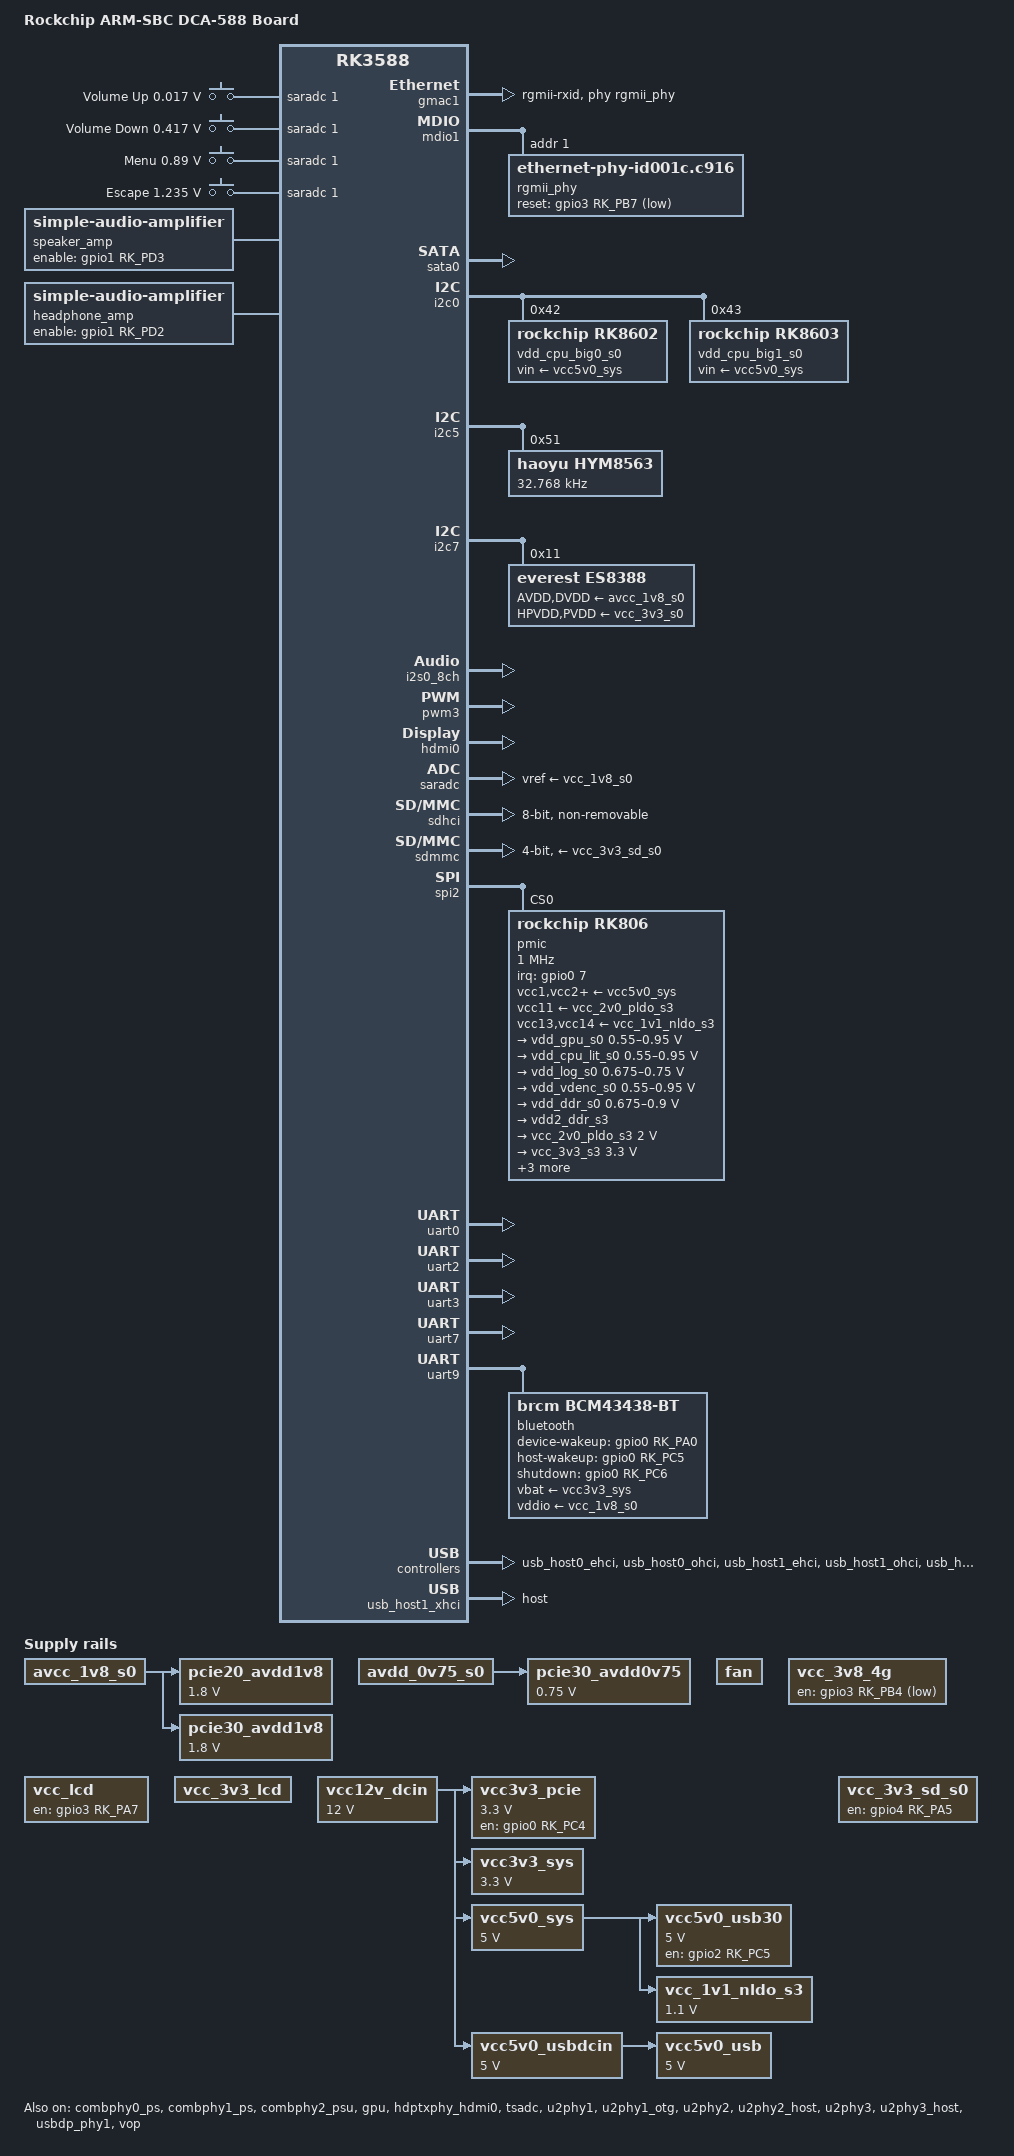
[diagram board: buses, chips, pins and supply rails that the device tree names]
// SPDX-License-Identifier: (GPL-2.0+ OR MIT)
/*
 * Copyright (c) 2024 Rockchip Electronics Co., Ltd.
 *
 */

/dts-v1/;

#include <dt-bindings/gpio/gpio.h>
#include <dt-bindings/input/input.h>
#include <dt-bindings/pinctrl/rockchip.h>
#include <dt-bindings/soc/rockchip,vop2.h>
#include "rk3588.dtsi"

/ {
	model = "Rockchip ARM-SBC DCA-588 Board";
	compatible = "rockchip,rk3588-arm-sbc-v03", "rockchip,rk3588";

	aliases {
		mmc0 = &sdhci;
		mmc1 = &sdmmc;
		ethernet0 = &gmac1;
	};

	chosen {
		stdout-path = "serial2:1500000n8";
	};

	adc-keys {
		compatible = "adc-keys";
		io-channels = <&saradc 1>;
		io-channel-names = "buttons";
		keyup-threshold-microvolt = <1800000>;
		poll-interval = <100>;

		button-vol-up {
			label = "Volume Up";
			linux,code = <KEY_VOLUMEUP>;
			press-threshold-microvolt = <17000>;
		};

		button-vol-down {
			label = "Volume Down";
			linux,code = <KEY_VOLUMEDOWN>;
			press-threshold-microvolt = <417000>;
		};

		button-menu {
			label = "Menu";
			linux,code = <KEY_MENU>;
			press-threshold-microvolt = <890000>;
		};

		button-escape {
			label = "Escape";
			linux,code = <KEY_ESC>;
			press-threshold-microvolt = <1235000>;
		};
	};
	
	speaker_amp: speaker-audio-amplifier {
		compatible = "simple-audio-amplifier";
		enable-gpios = <&gpio1 RK_PD3 GPIO_ACTIVE_HIGH>;
		sound-name-prefix = "Speaker Amp";
	};

	headphone_amp: headphones-audio-amplifier {
		compatible = "simple-audio-amplifier";
		enable-gpios = <&gpio1 RK_PD2 GPIO_ACTIVE_HIGH>;
		sound-name-prefix = "Headphones Amp";
	};
	
	sound {
		compatible = "simple-audio-card";
		pinctrl-names = "default";
		//pinctrl-0 = <&hp_detect>;
		simple-audio-card,name = "Analog";
		simple-audio-card,aux-devs = <&speaker_amp>, <&headphone_amp>;
		simple-audio-card,format = "i2s";
		simple-audio-card,mclk-fs = <256>;
		//simple-audio-card,hp-det-gpio = <&gpio1 RK_PD5 GPIO_ACTIVE_LOW>;
		simple-audio-card,bitclock-master = <&daicpu>;
		simple-audio-card,frame-master = <&daicpu>;
		/*TODO: SARADC_IN3 is used as MIC detection / key input */

		simple-audio-card,widgets =
			"Microphone", "Onboard Microphone",
			"Microphone", "Microphone Jack",
			"Speaker", "Speaker",
			"Headphone", "Headphones";

		simple-audio-card,routing =
			"Headphones", "LOUT1",
			"Headphones", "ROUT1",
			"Speaker", "LOUT2",
			"Speaker", "ROUT2",

			"Headphones", "Headphones Amp OUTL",
			"Headphones", "Headphones Amp OUTR",
			"Headphones Amp INL", "LOUT1",
			"Headphones Amp INR", "ROUT1",

			"Speaker", "Speaker Amp OUTL",
			"Speaker", "Speaker Amp OUTR",
			"Speaker Amp INL", "LOUT2",
			"Speaker Amp INR", "ROUT2",

			/* single ended signal to LINPUT1 */
			"LINPUT1", "Microphone Jack",
			"RINPUT1", "Microphone Jack",
			/* differential signal */
			"LINPUT2", "Onboard Microphone",
			"RINPUT2", "Onboard Microphone";

		daicpu: simple-audio-card,cpu {
			sound-dai = <&i2s0_8ch>;
			system-clock-frequency = <12288000>;
		};

		daicodec: simple-audio-card,codec {
			sound-dai = <&es8388>;
			system-clock-frequency = <12288000>;
		};
	};
	
    	fan: fan-regulator {
        	compatible = "regulator-fixed";
        	regulator-name = "fan-5v-regulator";
        	regulator-boot-on;
        	regulator-always-on;
        	enable-active-high;
       	};

    	vcc_3v8_4g: vcc-3v8-4g {
        	compatible = "regulator-fixed";
		regulator-name = "vcc-3v8-4g-regulator";
		regulator-boot-on;
        	regulator-always-on;
		gpio = <&gpio3 RK_PB4 GPIO_ACTIVE_LOW>;
    	};

    	vcc5v0_usb30: vcc5v0-usb30 {
        	compatible = "regulator-fixed";
		regulator-name = "vcc5v0-usb30-regulator";
		regulator-boot-on;
        	enable-active-high;
		gpio = <&gpio2 RK_PC5 GPIO_ACTIVE_HIGH>;
        	regulator-min-microvolt = <5000000>;
        	regulator-max-microvolt = <5000000>;
        	vin-supply = <&vcc5v0_sys>;
    	};

    	vcc_lcd: vcc-lcd {
        	compatible = "regulator-fixed";
		regulator-name = "vcc-lcd-regulator";
        	enable-active-high;
		gpio = <&gpio3 RK_PA7 GPIO_ACTIVE_HIGH>;
    	};

    	vcc_3v3_lcd: vcc-3v3-lcd {
        	compatible = "regulator-fixed";
		regulator-name = "vcc-3v3-lcd-regulator";
        	enable-active-high;
		//gpio = <&gpio1 RK_PC4 GPIO_ACTIVE_HIGH>;
        	regulator-boot-on;
        	regulator-always-on;
    	};
	
	vcc3v3_pcie: vcc3v3-pcie {
        	compatible = "regulator-fixed";
        	regulator-name = "vcc3v3_pcie";
        	regulator-min-microvolt = <3300000>;
        	regulator-max-microvolt = <3300000>;
        	enable-active-high;
        	gpios = <&gpio0 RK_PC4 GPIO_ACTIVE_HIGH>;
        	startup-delay-us = <5000>;
        	vin-supply = <&vcc12v_dcin>;
    	};

	pcie20_avdd1v8: pcie20-avdd1v8-regulator {
		compatible = "regulator-fixed";
		regulator-name = "pcie20_avdd1v8";
		regulator-always-on;
		regulator-boot-on;
		regulator-min-microvolt = <1800000>;
		regulator-max-microvolt = <1800000>;
		vin-supply = <&avcc_1v8_s0>;
	};

	pcie30_avdd0v75: pcie30-avdd0v75-regulator {
		compatible = "regulator-fixed";
		regulator-name = "pcie30_avdd0v75";
		regulator-always-on;
		regulator-boot-on;
		regulator-min-microvolt = <750000>;
		regulator-max-microvolt = <750000>;
		vin-supply = <&avdd_0v75_s0>;
	};

	pcie30_avdd1v8: pcie30-avdd1v8-regulator {
		compatible = "regulator-fixed";
		regulator-name = "pcie30_avdd1v8";
		regulator-always-on;
		regulator-boot-on;
		regulator-min-microvolt = <1800000>;
		regulator-max-microvolt = <1800000>;
		vin-supply = <&avcc_1v8_s0>;
	};

	vcc12v_dcin: vcc12v-dcin-regulator {
		compatible = "regulator-fixed";
		regulator-name = "vcc12v_dcin";
		regulator-always-on;
		regulator-boot-on;
		regulator-min-microvolt = <12000000>;
		regulator-max-microvolt = <12000000>;
	};

	vcc3v3_sys: vcc5v0-sys-regulator {
		compatible = "regulator-fixed";
		regulator-name = "vcc3v3_sys";
		regulator-always-on;
		regulator-boot-on;
		regulator-min-microvolt = <3300000>;
		regulator-max-microvolt = <3300000>;
		vin-supply = <&vcc12v_dcin>;
	};
	
	vcc5v0_sys: vcc5v0-sys-regulator {
		compatible = "regulator-fixed";
		regulator-name = "vcc5v0_sys";
		regulator-always-on;
		regulator-boot-on;
		regulator-min-microvolt = <5000000>;
		regulator-max-microvolt = <5000000>;
		vin-supply = <&vcc12v_dcin>;
	};

	vcc5v0_usbdcin: vcc5v0-usbdcin-regulator {
		compatible = "regulator-fixed";
		regulator-name = "vcc5v0_usbdcin";
		regulator-always-on;
		regulator-boot-on;
		regulator-min-microvolt = <5000000>;
		regulator-max-microvolt = <5000000>;
		vin-supply = <&vcc12v_dcin>;
	};

	vcc5v0_usb: vcc5v0-usb-regulator {
		compatible = "regulator-fixed";
		regulator-name = "vcc5v0_usb";
		regulator-always-on;
		regulator-boot-on;
		regulator-min-microvolt = <5000000>;
		regulator-max-microvolt = <5000000>;
		vin-supply = <&vcc5v0_usbdcin>;
	};

	vcc_1v1_nldo_s3: vcc-1v1-nldo-s3-regulator {
		compatible = "regulator-fixed";
		regulator-name = "vcc_1v1_nldo_s3";
		regulator-always-on;
		regulator-boot-on;
		regulator-min-microvolt = <1100000>;
		regulator-max-microvolt = <1100000>;
		vin-supply = <&vcc5v0_sys>;
	};
	
	vcc_3v3_sd_s0: vcc-3v3-sd-s0-regulator {
		compatible = "regulator-fixed";
		gpio = <&gpio4 RK_PA5 GPIO_ACTIVE_HIGH>;
		pinctrl-names = "default";
		pinctrl-0 = <&sd_s0_pwr>;
		regulator-name = "vcc_3v3_sd_s0";
		enable-active-high;
	};
};

&combphy0_ps {
	status = "okay";
};

&combphy1_ps {
	status = "okay";
};

&combphy2_psu {
	status = "okay";
};

&cpu_b0 {
	cpu-supply = <&vdd_cpu_big0_s0>;
};

&cpu_b1 {
	cpu-supply = <&vdd_cpu_big0_s0>;
};

&cpu_b2 {
	cpu-supply = <&vdd_cpu_big1_s0>;
};

&cpu_b3 {
	cpu-supply = <&vdd_cpu_big1_s0>;
};

&cpu_l0 {
	cpu-supply = <&vdd_cpu_lit_s0>;
};

&cpu_l1 {
	cpu-supply = <&vdd_cpu_lit_s0>;
};

&cpu_l2 {
	cpu-supply = <&vdd_cpu_lit_s0>;
};

&cpu_l3 {
	cpu-supply = <&vdd_cpu_lit_s0>;
};

&gmac1 {
	phy-mode = "rgmii-rxid";
	clock_in_out = "output";
	pinctrl-names = "default";
	pinctrl-0 = <&gmac1_miim
		     &gmac1_tx_bus2
		     &gmac1_rx_bus2
		     &gmac1_rgmii_clk
		     &gmac1_rgmii_bus>;
	tx_delay = <0x44>;
	rx_delay = <0x00>; 
	phy-handle = <&rgmii_phy>;
	status = "okay";
};

&mdio1 {
	rgmii_phy: ethernet-phy@1 {
		/* RTL8211F */
		compatible = "ethernet-phy-id001c.c916";
		reg = <0x1>;
		pinctrl-names = "default";
		pinctrl-0 = <&rtl8211f_rst>;
		reset-assert-us = <20000>;
		reset-deassert-us = <100000>;
		reset-gpios = <&gpio3 RK_PB7 GPIO_ACTIVE_LOW>;
	};
};

&sata0 {
	status = "okay";
};

&i2c0 {
	pinctrl-names = "default";
	pinctrl-0 = <&i2c0m2_xfer>;
	status = "okay";

	vdd_cpu_big0_s0: regulator@42 {
		compatible = "rockchip,rk8602";
		reg = <0x42>;
		fcs,suspend-voltage-selector = <1>;
		regulator-name = "vdd_cpu_big0_s0";
		regulator-always-on;
		regulator-boot-on;
		regulator-min-microvolt = <550000>;
		regulator-max-microvolt = <1050000>;
		regulator-ramp-delay = <2300>;
		vin-supply = <&vcc5v0_sys>;

		regulator-state-mem {
			regulator-off-in-suspend;
		};
	};

	vdd_cpu_big1_s0: regulator@43 {
		compatible = "rockchip,rk8603", "rockchip,rk8602";
		reg = <0x43>;
		fcs,suspend-voltage-selector = <1>;
		regulator-name = "vdd_cpu_big1_s0";
		regulator-always-on;
		regulator-boot-on;
		regulator-min-microvolt = <550000>;
		regulator-max-microvolt = <1050000>;
		regulator-ramp-delay = <2300>;
		vin-supply = <&vcc5v0_sys>;

		regulator-state-mem {
			regulator-off-in-suspend;
		};
	};
};

&i2c5 {
	status = "okay";

	hym8563: rtc@51 {
		compatible = "haoyu,hym8563";
		reg = <0x51>;
		#clock-cells = <0>;
		clock-frequency = <32768>;
		clock-output-names = "hym8563";
		pinctrl-names = "default";
		wakeup-source;
		status = "okay";
	};
};

&i2c7 {
	status = "okay";
	
	es8388: es8388@11 {
		compatible = "everest,es8388";
		reg = <0x11>;
		assigned-clocks = <&cru I2S0_8CH_MCLKOUT>;
		assigned-clock-rates = <12288000>;
		clocks = <&cru I2S0_8CH_MCLKOUT>;
		clock-names = "mclk";
		AVDD-supply = <&avcc_1v8_s0>;
		DVDD-supply = <&avcc_1v8_s0>;
		HPVDD-supply = <&vcc_3v3_s0>;
		PVDD-supply = <&vcc_3v3_s0>;
		#sound-dai-cells = <0>;
	};
};


&i2s0_8ch {
	status = "okay";
	pinctrl-0 = <&i2s0_lrck
		     &i2s0_mclk
		     &i2s0_sclk
		     &i2s0_sdi0
		     &i2s0_sdo0>;
};

&pinctrl {

	hym8563 {
		hym8563_int: hym8563-int {
			rockchip,pins = <0 RK_PB0 RK_FUNC_GPIO &pcfg_pull_up>;
		};
	};

	usb {
		vcc5v0_host_en: vcc5v0-host-en {
			rockchip,pins = <2 RK_PC5 RK_FUNC_GPIO &pcfg_pull_none>;
		};
	};
	
	sound {
		hp_detect: hp-detect {
			rockchip,pins = <1 RK_PD5 RK_FUNC_GPIO &pcfg_pull_none>;
		};
	};
	
	sdmmc {
		sd_s0_pwr: sd-s0-pwr {
			rockchip,pins = <4 RK_PA5 RK_FUNC_GPIO &pcfg_pull_up>;
		};
	};
	
	rtl8211f {
		rtl8211f_rst: rtl8211f-rst {
			rockchip,pins = <4 RK_PB3 RK_FUNC_GPIO &pcfg_pull_none>;
		};
	};

                
        wireless-bluetooth {
		uart8_gpios: uart8-gpios {
			rockchip,pins = <3 RK_PA4 RK_FUNC_GPIO &pcfg_pull_none>;
		};

		bt_reset_gpio: bt-reset-gpio {
			rockchip,pins = <0 RK_PC6 RK_FUNC_GPIO &pcfg_pull_none>;
		};

		bt_wake_gpio: bt-wake-gpio {
			rockchip,pins = <0 RK_PC5 RK_FUNC_GPIO &pcfg_pull_none>;
		};

		bt_irq_gpio: bt-irq-gpio {
			rockchip,pins = <0 RK_PA0 RK_FUNC_GPIO &pcfg_pull_none>;
		};
	};

	wireless-wlan {
		wifi_host_wake_irq: wifi-host-wake-irq {
			rockchip,pins = <0 RK_PB2 RK_FUNC_GPIO &pcfg_pull_down>;
		};
	};
	
		wifi_poweren_gpio: wifi-poweren-gpio {
			rockchip,pins = <0 RK_PC4 RK_FUNC_GPIO &pcfg_pull_up>;
    		};
};

&pwm3 {
	pinctrl-0 = <&pwm3m1_pins>;
	status = "okay";
};

&gpu {
	mali-supply = <&vdd_gpu_s0>;
	status = "okay";
};

&hdmi0 {
	status = "okay";
};

&hdmi0_in {
	hdmi0_in_vp0: endpoint {
		remote-endpoint = <&vp0_out_hdmi0>;
	};
};

&hdptxphy_hdmi0 {
	status = "okay";
};

&saradc {
	vref-supply = <&vcc_1v8_s0>;
	status = "okay";
};

&sdhci {
	bus-width = <8>;
	mmc-hs400-1_8v;
	mmc-hs400-enhanced-strobe;
	no-sdio;
	no-sd;
	non-removable;
	status = "okay";
};

&sdmmc {
	max-frequency = <150000000>;
	bus-width = <4>;
	cap-sd-highspeed;
	cap-mmc-highspeed;
	disable-wp;
	no-sdio;
	no-mmc;
	sd-uhs-sdr104;
	vmmc-supply = <&vcc_3v3_sd_s0>;
	vqmmc-supply = <&vccio_sd_s0>;
	status = "okay";
};

&spi2 {
	assigned-clocks = <&cru CLK_SPI2>;
	assigned-clock-rates = <200000000>;
	num-cs = <1>;
	pinctrl-names = "default";
	pinctrl-0 = <&spi2m2_cs0 &spi2m2_pins>;
	status = "okay";

	pmic@0 {
		compatible = "rockchip,rk806";
		reg = <0x0>;
		gpio-controller;
		#gpio-cells = <2>;
		interrupt-parent = <&gpio0>;
		interrupts = <7 IRQ_TYPE_LEVEL_LOW>;
		pinctrl-names = "default";
		pinctrl-0 = <&pmic_pins>, <&rk806_dvs1_null>,
			    <&rk806_dvs2_null>, <&rk806_dvs3_null>;
		spi-max-frequency = <1000000>;
		system-power-controller;

		vcc1-supply = <&vcc5v0_sys>;
		vcc2-supply = <&vcc5v0_sys>;
		vcc3-supply = <&vcc5v0_sys>;
		vcc4-supply = <&vcc5v0_sys>;
		vcc5-supply = <&vcc5v0_sys>;
		vcc6-supply = <&vcc5v0_sys>;
		vcc7-supply = <&vcc5v0_sys>;
		vcc8-supply = <&vcc5v0_sys>;
		vcc9-supply = <&vcc5v0_sys>;
		vcc10-supply = <&vcc5v0_sys>;
		vcc11-supply = <&vcc_2v0_pldo_s3>;
		vcc12-supply = <&vcc5v0_sys>;
		vcc13-supply = <&vcc_1v1_nldo_s3>;
		vcc14-supply = <&vcc_1v1_nldo_s3>;
		vcca-supply = <&vcc5v0_sys>;

		rk806_dvs1_null: dvs1-null-pins {
			pins = "gpio_pwrctrl1";
			function = "pin_fun0";
		};

		rk806_dvs2_null: dvs2-null-pins {
			pins = "gpio_pwrctrl2";
			function = "pin_fun0";
		};

		rk806_dvs3_null: dvs3-null-pins {
			pins = "gpio_pwrctrl3";
			function = "pin_fun0";
		};

		regulators {
			vdd_gpu_s0: vdd_gpu_mem_s0: dcdc-reg1 {
				regulator-name = "vdd_gpu_s0";
				regulator-boot-on;
				regulator-enable-ramp-delay = <400>;
				regulator-min-microvolt = <550000>;
				regulator-max-microvolt = <950000>;
				regulator-ramp-delay = <12500>;

				regulator-state-mem {
					regulator-off-in-suspend;
				};
			};

			vdd_cpu_lit_s0: vdd_cpu_lit_mem_s0: dcdc-reg2 {
				regulator-name = "vdd_cpu_lit_s0";
				regulator-always-on;
				regulator-boot-on;
				regulator-min-microvolt = <550000>;
				regulator-max-microvolt = <950000>;
				regulator-ramp-delay = <12500>;

				regulator-state-mem {
					regulator-off-in-suspend;
				};
			};

			vdd_log_s0: dcdc-reg3 {
				regulator-name = "vdd_log_s0";
				regulator-always-on;
				regulator-boot-on;
				regulator-min-microvolt = <675000>;
				regulator-max-microvolt = <750000>;
				regulator-ramp-delay = <12500>;

				regulator-state-mem {
					regulator-off-in-suspend;
					regulator-suspend-microvolt = <750000>;
				};
			};

			vdd_vdenc_s0: vdd_vdenc_mem_s0: dcdc-reg4 {
				regulator-name = "vdd_vdenc_s0";
				regulator-always-on;
				regulator-boot-on;
				regulator-min-microvolt = <550000>;
				regulator-max-microvolt = <950000>;
				regulator-init-microvolt = <750000>;
				regulator-ramp-delay = <12500>;

				regulator-state-mem {
					regulator-off-in-suspend;
				};
			};

			vdd_ddr_s0: dcdc-reg5 {
				regulator-name = "vdd_ddr_s0";
				regulator-always-on;
				regulator-boot-on;
				regulator-min-microvolt = <675000>;
				regulator-max-microvolt = <900000>;
				regulator-ramp-delay = <12500>;

				regulator-state-mem {
					regulator-off-in-suspend;
					regulator-suspend-microvolt = <850000>;
				};
			};

			vdd2_ddr_s3: dcdc-reg6 {
				regulator-name = "vdd2_ddr_s3";
				regulator-always-on;
				regulator-boot-on;

				regulator-state-mem {
					regulator-on-in-suspend;
				};
			};

			vcc_2v0_pldo_s3: dcdc-reg7 {
				regulator-name = "vdd_2v0_pldo_s3";
				regulator-always-on;
				regulator-boot-on;
				regulator-min-microvolt = <2000000>;
				regulator-max-microvolt = <2000000>;

				regulator-state-mem {
					regulator-on-in-suspend;
					regulator-suspend-microvolt = <2000000>;
				};
			};

			vcc_3v3_s3: dcdc-reg8 {
				regulator-name = "vcc_3v3_s3";
				regulator-always-on;
				regulator-boot-on;
				regulator-min-microvolt = <3300000>;
				regulator-max-microvolt = <3300000>;

				regulator-state-mem {
					regulator-on-in-suspend;
					regulator-suspend-microvolt = <3300000>;
				};
			};

			vddq_ddr_s0: dcdc-reg9 {
				regulator-name = "vddq_ddr_s0";
				regulator-always-on;
				regulator-boot-on;

				regulator-state-mem {
					regulator-off-in-suspend;
				};
			};

			vcc_1v8_s3: dcdc-reg10 {
				regulator-name = "vcc_1v8_s3";
				regulator-always-on;
				regulator-boot-on;
				regulator-min-microvolt = <1800000>;
				regulator-max-microvolt = <1800000>;

				regulator-state-mem {
					regulator-on-in-suspend;
					regulator-suspend-microvolt = <1800000>;
				};
			};

			avcc_1v8_s0: pldo-reg1 {
				regulator-name = "avcc_1v8_s0";
				regulator-always-on;
				regulator-boot-on;
				regulator-min-microvolt = <1800000>;
				regulator-max-microvolt = <1800000>;

				regulator-state-mem {
					regulator-off-in-suspend;
				};
			};

			vcc_1v8_s0: pldo-reg2 {
				regulator-name = "vcc_1v8_s0";
				regulator-always-on;
				regulator-boot-on;
				regulator-min-microvolt = <1800000>;
				regulator-max-microvolt = <1800000>;

				regulator-state-mem {
					regulator-off-in-suspend;
					regulator-suspend-microvolt = <1800000>;
				};
			};

			avdd_1v2_s0: pldo-reg3 {
				regulator-name = "avdd_1v2_s0";
				regulator-always-on;
				regulator-boot-on;
				regulator-min-microvolt = <1200000>;
				regulator-max-microvolt = <1200000>;

				regulator-state-mem {
					regulator-off-in-suspend;
				};
			};

			vcc_3v3_s0: pldo-reg4 {
				regulator-name = "vcc_3v3_s0";
				regulator-always-on;
				regulator-boot-on;
				regulator-min-microvolt = <3300000>;
				regulator-max-microvolt = <3300000>;

				regulator-state-mem {
					regulator-off-in-suspend;
				};
			};

			vccio_sd_s0: pldo-reg5 {
				regulator-name = "vccio_sd_s0";
				regulator-always-on;
				regulator-boot-on;
				regulator-min-microvolt = <1800000>;
				regulator-max-microvolt = <3300000>;

				regulator-state-mem {
					regulator-off-in-suspend;
				};
			};

			pldo6_s3: pldo-reg6 {
				regulator-name = "pldo6_s3";
				regulator-always-on;
				regulator-boot-on;
				regulator-min-microvolt = <1800000>;
				regulator-max-microvolt = <1800000>;

				regulator-state-mem {
					regulator-on-in-suspend;
					regulator-suspend-microvolt = <1800000>;
				};
			};

			vdd_0v75_s3: nldo-reg1 {
				regulator-name = "vdd_0v75_s3";
				regulator-always-on;
				regulator-boot-on;
				regulator-min-microvolt = <750000>;
				regulator-max-microvolt = <750000>;

				regulator-state-mem {
					regulator-on-in-suspend;
					regulator-suspend-microvolt = <750000>;
				};
			};

			vdd_ddr_pll_s0: nldo-reg2 {
				regulator-name = "vdd_ddr_pll_s0";
				regulator-always-on;
				regulator-boot-on;
				regulator-min-microvolt = <850000>;
				regulator-max-microvolt = <850000>;

				regulator-state-mem {
					regulator-off-in-suspend;
					regulator-suspend-microvolt = <850000>;
				};
			};

			avdd_0v75_s0: nldo-reg3 {
				regulator-name = "avdd_0v75_s0";
				regulator-always-on;
				regulator-boot-on;
				regulator-min-microvolt = <837500>;
				regulator-max-microvolt = <837500>;

				regulator-state-mem {
					regulator-off-in-suspend;
				};
			};

			vdd_0v85_s0: nldo-reg4 {
				regulator-name = "vdd_0v85_s0";
				regulator-always-on;
				regulator-boot-on;
				regulator-min-microvolt = <850000>;
				regulator-max-microvolt = <850000>;

				regulator-state-mem {
					regulator-off-in-suspend;
				};
			};

			vdd_0v75_s0: nldo-reg5 {
				regulator-name = "vdd_0v75_s0";
				regulator-always-on;
				regulator-boot-on;
				regulator-min-microvolt = <750000>;
				regulator-max-microvolt = <750000>;

				regulator-state-mem {
					regulator-off-in-suspend;
				};
			};
		};
	};
};

&tsadc {
	status = "okay";
};

&uart0 {
	pinctrl-0 = <&uart0m2_xfer>;
	status = "okay";
};


&uart2 {
	pinctrl-0 = <&uart2m0_xfer>;
	status = "okay";
};

&uart3 {
	pinctrl-0 = <&uart3m0_xfer>;
	status = "okay";
};

&uart7 {
	pinctrl-0 = <&uart7m1_xfer>;
	status = "okay";
};

&uart9 {
	pinctrl-0 = <&uart9m0_xfer>, <&uart9m0_ctsn>, <&uart9m0_rtsn>;
	uart-has-rtscts;
	pinctrl-names = "default";
	status = "okay";
	
	bluetooth {
		compatible = "brcm,bcm43438-bt";
		clock-names = "ext_clock";
		//clock-names = "lpo";
		device-wakeup-gpios = <&gpio0 RK_PA0 GPIO_ACTIVE_HIGH>;
		host-wakeup-gpios = <&gpio0 RK_PC5 GPIO_ACTIVE_HIGH>;
		shutdown-gpios = <&gpio0 RK_PC6 GPIO_ACTIVE_HIGH>;
		pinctrl-names = "default";
		pinctrl-0 = <&bt_reset_gpio>, <&bt_wake_gpio> ,<&bt_irq_gpio>;
		vbat-supply = <&vcc3v3_sys>;
		vddio-supply = <&vcc_1v8_s0>;
	};
	
};

&u2phy1 {
	status = "okay";
};

&u2phy1_otg {
	status = "okay";
};

&u2phy2 {
	status = "okay";
};

&u2phy2_host {
	phy-supply = <&vcc5v0_usb30>;
	status = "okay";
};

&u2phy3 {
	status = "okay";
};

&u2phy3_host {
	phy-supply = <&vcc5v0_usb30>;
	status = "okay";
};

&usbdp_phy1 {
	status = "okay";
};

&usb_host0_ehci {
	status = "okay";
};

&usb_host0_ohci {
	status = "okay";
};

&usb_host1_ehci {
	status = "okay";
};

&usb_host1_ohci {
	status = "okay";
};

&usb_host1_xhci {
	dr_mode = "host";
	status = "okay";
};

&usb_host2_xhci {
	status = "okay";
};

&vop {
	status = "okay";
};

&vop_mmu {
	status = "okay";
};

&vp0 {
	vp0_out_hdmi0: endpoint@ROCKCHIP_VOP2_EP_HDMI0 {
		reg = <ROCKCHIP_VOP2_EP_HDMI0>;
		remote-endpoint = <&hdmi0_in_vp0>;
	};
};
